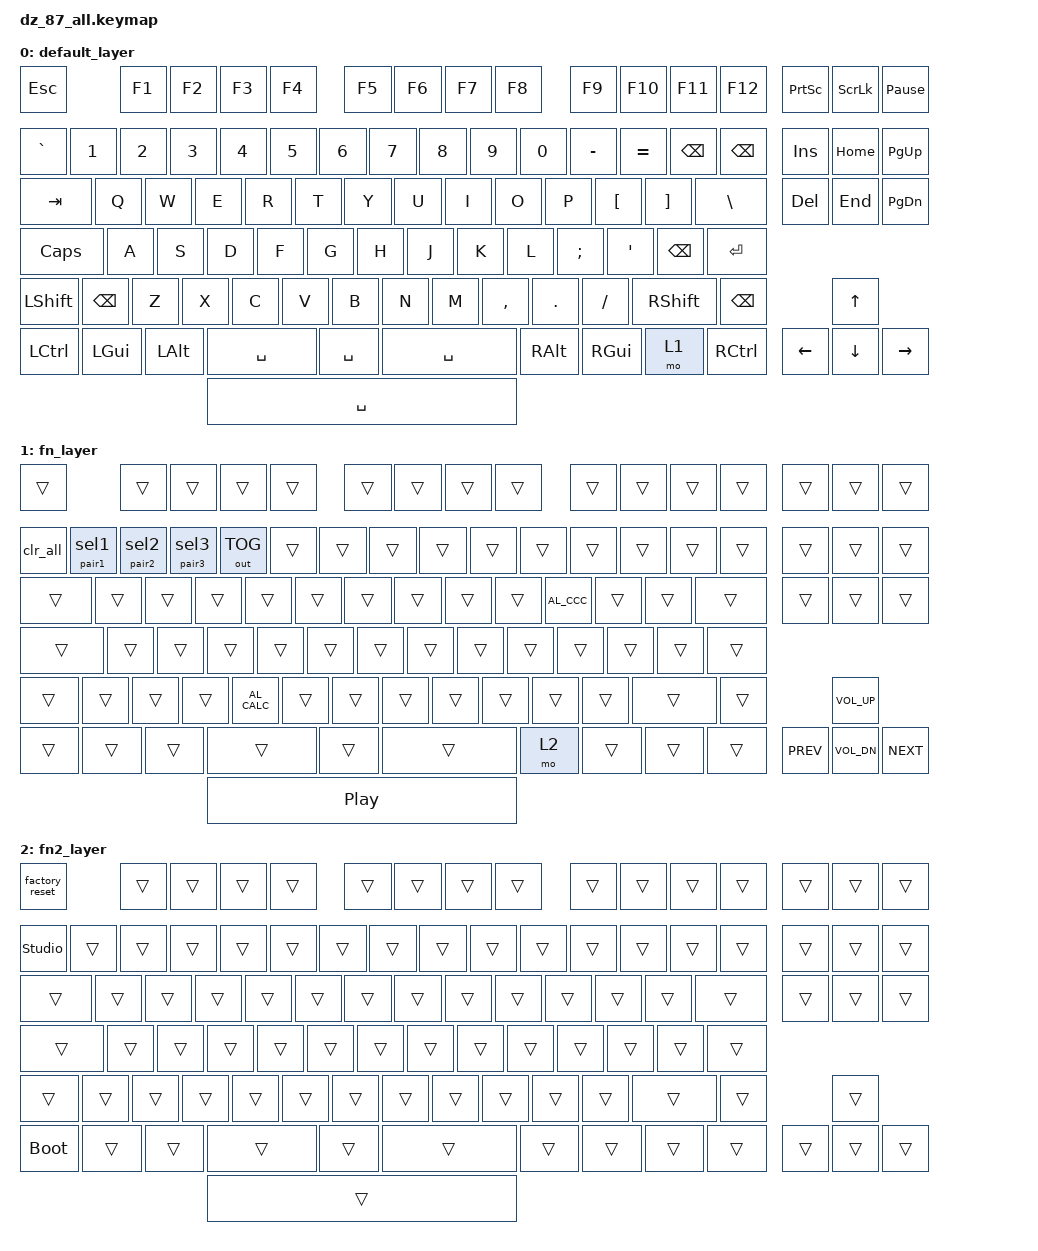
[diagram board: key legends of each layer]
#include <behaviors.dtsi>
#include <dt-bindings/zmk/keys.h>
#include <dt-bindings/zmk/bt.h>
#include <dt-bindings/zmk/reset.h>
#include <dt-bindings/zmk/outputs.h>

/ {
    behaviors {
        pair1: pair_profile1 { compatible = "zmk,behavior-macro"; #binding-cells = <0>; tap-ms = <50>; bindings = <&bt BT_SEL 0 &bt BT_CLR>; };
        pair2: pair_profile2 { compatible = "zmk,behavior-macro"; #binding-cells = <0>; tap-ms = <50>; bindings = <&bt BT_SEL 1 &bt BT_CLR>; };
        pair3: pair_profile3 { compatible = "zmk,behavior-macro"; #binding-cells = <0>; tap-ms = <50>; bindings = <&bt BT_SEL 2 &bt BT_CLR>; };
        sel1: select_profile1 { compatible = "zmk,behavior-macro"; #binding-cells = <0>; bindings = <&out OUT_BLE &bt BT_SEL 0>; };
        sel2: select_profile2 { compatible = "zmk,behavior-macro"; #binding-cells = <0>; bindings = <&out OUT_BLE &bt BT_SEL 1>; };
        sel3: select_profile3 { compatible = "zmk,behavior-macro"; #binding-cells = <0>; bindings = <&out OUT_BLE &bt BT_SEL 2>; };
        ch1: ch_key1 { compatible = "zmk,behavior-hold-tap"; label = "CH1"; #binding-cells = <2>; flavor = "tap-preferred"; tapping-term-ms = <1000>; bindings = <&pair1 &sel1>; };
        ch2: ch_key2 { compatible = "zmk,behavior-hold-tap"; label = "CH2"; #binding-cells = <2>; flavor = "tap-preferred"; tapping-term-ms = <1000>; bindings = <&pair2 &sel2>; };
        ch3: ch_key3 { compatible = "zmk,behavior-hold-tap"; label = "CH3"; #binding-cells = <2>; flavor = "tap-preferred"; tapping-term-ms = <1000>; bindings = <&pair3 &sel3>; };
        clr_all: clr_all { compatible = "zmk,behavior-macro"; #binding-cells = <0>; bindings = <&bt BT_CLR_ALL>; };
        factory_reset: factory_reset { compatible = "zmk,behavior-macro"; #binding-cells = <0>; tap-ms = <300>; wait-ms = <300>; bindings = <&bt BT_CLR_ALL &sys_reset>; };
    };

    keymap {
        compatible = "zmk,keymap";

        // 94 bindings: the ALL physical layout exposes all switch positions.
        // positions 87-93 are the extra mutually-exclusive spots (BSLS1 / UK /
        // FN2 / split-space sections) and are left unbound on purpose — assign
        // them in ZMK Studio.
        default_layer { bindings = <
    &kp ESC                &kp F1                 &kp F2                 &kp F3                 &kp F4                 &kp F5                 &kp F6                 &kp F7                
    &kp F8                 &kp F9                 &kp F10                &kp F11                &kp F12                &kp PRINTSCREEN        &kp SCROLLLOCK         &kp PAUSE_BREAK       
    &kp GRAVE              &kp N1                 &kp N2                 &kp N3                 &kp N4                 &kp N5                 &kp N6                 &kp N7                
    &kp N8                 &kp N9                 &kp N0                 &kp MINUS              &kp EQUAL              &kp BACKSPACE          &kp INSERT             &kp HOME              
    &kp PG_UP              &kp TAB                &kp Q                  &kp W                  &kp E                  &kp R                  &kp T                  &kp Y                 
    &kp U                  &kp I                  &kp O                  &kp P                  &kp LBKT               &kp RBKT               &kp BACKSLASH          &kp DELETE            
    &kp END                &kp PG_DN              &kp CAPSLOCK           &kp A                  &kp S                  &kp D                  &kp F                  &kp G                 
    &kp H                  &kp J                  &kp K                  &kp L                  &kp SEMICOLON          &kp SINGLE_QUOTE       &kp ENTER              &kp LSHIFT            
    &kp Z                  &kp X                  &kp C                  &kp V                  &kp B                  &kp N                  &kp M                  &kp COMMA             
    &kp PERIOD             &kp SLASH              &kp RSHIFT             &kp UP                 &kp LCTRL              &kp LGUI               &kp LALT               &kp SPACE             
    &kp RALT               &kp RGUI               &mo 1                  &kp RCTRL              &kp LEFT               &kp DOWN               &kp RIGHT             
    &kp BACKSPACE          &kp BACKSPACE          &kp BACKSPACE          &kp SPACE              &kp SPACE              &kp SPACE              &kp BACKSPACE         
            >;
        };
        fn_layer { bindings = <
    &trans                 &trans                 &trans                 &trans                 &trans                 &trans                 &trans                 &trans                
    &trans                 &trans                 &trans                 &trans                 &trans                 &trans                 &trans                 &trans                
    &clr_all               &ch1 0 0               &ch2 0 0               &ch3 0 0               &out OUT_TOG           &trans                 &trans                 &trans                
    &trans                 &trans                 &trans                 &trans                 &trans                 &trans                 &trans                 &trans                
    &trans                 &trans                 &trans                 &trans                 &trans                 &trans                 &trans                 &trans                
    &trans                 &trans                 &trans                 &kp C_AL_CCC           &trans                 &trans                 &trans                 &trans                
    &trans                 &trans                 &trans                 &trans                 &trans                 &trans                 &trans                 &trans                
    &trans                 &trans                 &trans                 &trans                 &trans                 &trans                 &trans                 &trans                
    &trans                 &trans                 &kp C_AL_CALC          &trans                 &trans                 &trans                 &trans                 &trans                
    &trans                 &trans                 &trans                 &kp C_VOL_UP           &trans                 &trans                 &trans                 &kp C_PLAY_PAUSE      
    &mo 2                  &trans                 &trans                 &trans                 &kp C_PREV             &kp C_VOL_DN           &kp C_NEXT            
    &trans                 &trans                 &trans                 &trans                 &trans                 &trans                 &trans                
            >;
        };
        fn2_layer { bindings = <
    &factory_reset         &trans                 &trans                 &trans                 &trans                 &trans                 &trans                 &trans                
    &trans                 &trans                 &trans                 &trans                 &trans                 &trans                 &trans                 &trans                
    &studio_unlock         &trans                 &trans                 &trans                 &trans                 &trans                 &trans                 &trans                
    &trans                 &trans                 &trans                 &trans                 &trans                 &trans                 &trans                 &trans                
    &trans                 &trans                 &trans                 &trans                 &trans                 &trans                 &trans                 &trans                
    &trans                 &trans                 &trans                 &trans                 &trans                 &trans                 &trans                 &trans                
    &trans                 &trans                 &trans                 &trans                 &trans                 &trans                 &trans                 &trans                
    &trans                 &trans                 &trans                 &trans                 &trans                 &trans                 &trans                 &trans                
    &trans                 &trans                 &trans                 &trans                 &trans                 &trans                 &trans                 &trans                
    &trans                 &trans                 &trans                 &trans                 &bootloader            &trans                 &trans                 &trans                
    &trans                 &trans                 &trans                 &trans                 &trans                 &trans                 &trans                
    &trans                 &trans                 &trans                 &trans                 &trans                 &trans                 &trans                
            >;
        };
    };
};
